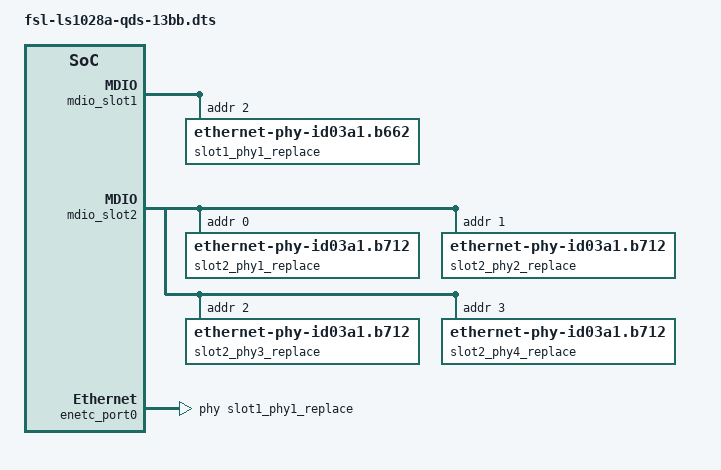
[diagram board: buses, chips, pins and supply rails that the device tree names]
/*
 * Device Tree Include file for NXP Layerscape-1088A family SoC.
 *
 * Copyright 2018 NXP
 *
 * Harninder Rai <harninder.rai@nxp.com>
 *
 * This file is dual-licensed: you can use it either under the terms
 * of the GPLv2 or the X11 license, at your option. Note that this dual
 * licensing only applies to this file, and not this project as a
 * whole.
 *
 *  a) This library is free software; you can redistribute it and/or
 *     modify it under the terms of the GNU General Public License as
 *     published by the Free Software Foundation; either version 2 of the
 *     License, or (at your option) any later version.
 *
 *     This library is distributed in the hope that it will be useful,
 *     but WITHOUT ANY WARRANTY; without even the implied warranty of
 *     MERCHANTABILITY or FITNESS FOR A PARTICULAR PURPOSE.  See the
 *     GNU General Public License for more details.
 *
 * Or, alternatively,
 *
 *  b) Permission is hereby granted, free of charge, to any person
 *     obtaining a copy of this software and associated documentation
 *     files (the "Software"), to deal in the Software without
 *     restriction, including without limitation the rights to use,
 *     copy, modify, merge, publish, distribute, sublicense, and/or
 *     sell copies of the Software, and to permit persons to whom the
 *     Software is furnished to do so, subject to the following
 *     conditions:
 *
 *     The above copyright notice and this permission notice shall be
 *     included in all copies or substantial portions of the Software.
 *
 *     THE SOFTWARE IS PROVIDED "AS IS", WITHOUT WARRANTY OF ANY KIND,
 *     EXPRESS OR IMPLIED, INCLUDING BUT NOT LIMITED TO THE WARRANTIES
 *     OF MERCHANTABILITY, FITNESS FOR A PARTICULAR PURPOSE AND
 *     NONINFRINGEMENT. IN NO EVENT SHALL THE AUTHORS OR COPYRIGHT
 *     HOLDERS BE LIABLE FOR ANY CLAIM, DAMAGES OR OTHER LIABILITY,
 *     WHETHER IN AN ACTION OF CONTRACT, TORT OR OTHERWISE, ARISING
 *     FROM, OUT OF OR IN CONNECTION WITH THE SOFTWARE OR THE USE OR
 *     OTHER DEALINGS IN THE SOFTWARE.
 */

/dts-v1/;
#include "fsl-ls1028a-qds.dts"

&mdio_slot1 {
	/* AQR112 PHY - USXGMII (up to 2.5G) */
	slot1_phy1_replace: mdio_phy0@02 {
		compatible = "ethernet-phy-id03a1.b662";
		reg = <2>;
	};
};

&mdio_slot2 {
	/* AQR412 PHY - QSXGMII (4*2.5G) */
	slot2_phy1_replace: emdio1_phy@1 {
		compatible = "ethernet-phy-id03a1.b712";
		reg = <0>;
	};
	slot2_phy2_replace: emdio1_phy@2 {
		compatible = "ethernet-phy-id03a1.b712";
		reg = <1>;
	};
	slot2_phy3_replace: emdio1_phy@3 {
		compatible = "ethernet-phy-id03a1.b712";
		reg = <2>;
	};
	slot2_phy4_replace: emdio1_phy@4 {
		compatible = "ethernet-phy-id03a1.b712";
		reg = <3>;
	};
};

&enetc_port0 {
	phy-handle = <&slot1_phy1_replace>;
};

/* l2switch ports don't use the PHYs yet, due to a probing order issue */
